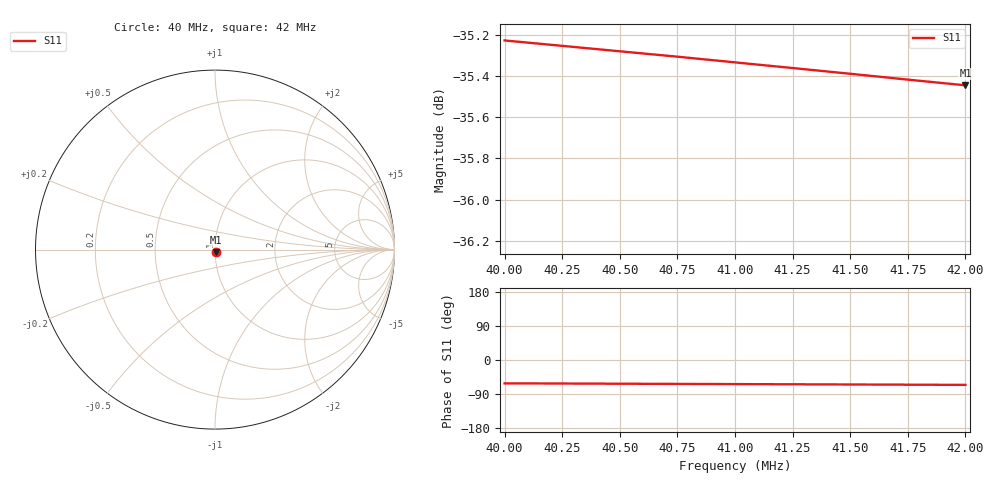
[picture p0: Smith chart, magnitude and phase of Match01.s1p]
# Hz S RI R 50
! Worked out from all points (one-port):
!   9 points, 40 MHz to 42 MHz, reference 50 ohm
!   lowest |S11| = -35.4 dB at 42 MHz (marker M1), VSWR 1.03, Z = 50.7 - j1.56 ohm
!   |S11| at or under -10 dB: start of sweep to end of sweep
4e7  0.00825 -0.0152
4.025e7  0.00809 -0.0153
4.05e7  0.00793 -0.0153
4.075e7  0.00777 -0.0153
4.1e7  0.00761 -0.0153
4.125e7  0.00745 -0.0153
4.15e7  0.00729 -0.0154
4.175e7  0.00713 -0.0154
4.2e7  0.00697 -0.0154
